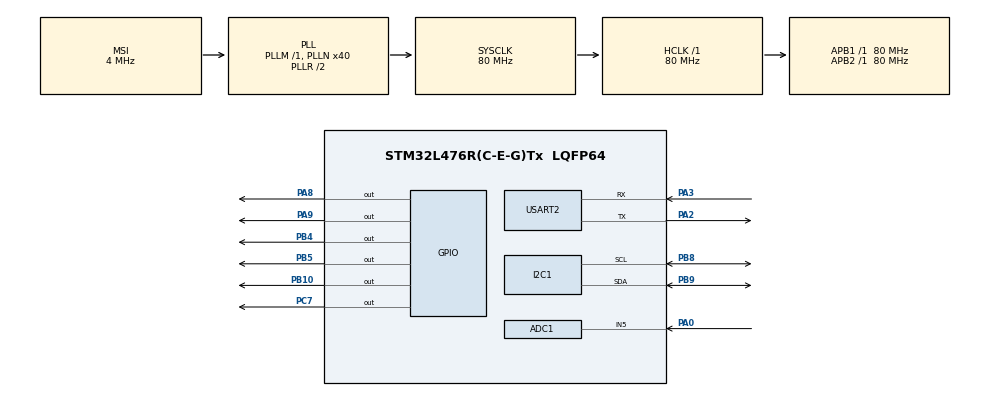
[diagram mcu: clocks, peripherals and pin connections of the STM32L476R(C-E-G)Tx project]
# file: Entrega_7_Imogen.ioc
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ADC1.Channel-0\#ChannelRegularConversion=ADC_CHANNEL_5
ADC1.NbrOfConversionFlag=1
ADC1.SamplingTime-0\#ChannelRegularConversion=ADC_SAMPLETIME_247CYCLES_5
ADC1.master=1
I2C1.Timing=0x10D19CE4
Mcu.Family=STM32L4
Mcu.Name=STM32L476R(C-E-G)Tx
Mcu.Package=LQFP64
NVIC.PriorityGroup=NVIC_PRIORITYGROUP_4
PA0.Signal=ADCx_IN5
PA13\ (JTMS-SWDIO).Mode=Serial_Wire
PA13\ (JTMS-SWDIO).Signal=SYS_JTMS-SWDIO
PA14\ (JTCK-SWCLK).Mode=Serial_Wire
PA14\ (JTCK-SWCLK).Signal=SYS_JTCK-SWCLK
PA2.Mode=Asynchronous
PA2.Signal=USART2_TX
PA3.Mode=Asynchronous
PA3.Signal=USART2_RX
PA8.Signal=GPIO_Output
PA9.Signal=GPIO_Output
PB10.Signal=GPIO_Output
PB4\ (NJTRST).Signal=GPIO_Output
PB5.Signal=GPIO_Output
PB8.GPIO_Pu=GPIO_PULLUP
PB8.Mode=I2C
PB8.Signal=I2C1_SCL
PB9.GPIO_Pu=GPIO_PULLUP
PB9.Mode=I2C
PB9.Signal=I2C1_SDA
PC7.Signal=GPIO_Output
ProjectManager.HeapSize=0x200
ProjectManager.StackSize=0x400
ProjectManager.TargetToolchain=STM32CubeIDE
RCC.ADCFreq_Value=32000000
RCC.AHBFreq_Value=80000000
RCC.APB1Freq_Value=80000000
RCC.APB1TimFreq_Value=80000000
RCC.APB2Freq_Value=80000000
RCC.APB2TimFreq_Value=80000000
RCC.CortexFreq_Value=80000000
RCC.HCLKFreq_Value=80000000
RCC.HSE_VALUE=8000000
RCC.HSI_VALUE=16000000
RCC.LSE_VALUE=32768
RCC.MSI_VALUE=4000000
RCC.PLLN=40
RCC.PLLSAI1N=16
RCC.SYSCLKFreq_VALUE=80000000
RCC.SYSCLKSource=RCC_SYSCLKSOURCE_PLLCLK
RCC.USBFreq_Value=32000000
RCC.VCOOutputFreq_Value=160000000
SH.ADCx_IN5.0=ADC1_IN5,IN5-Single-Ended
USART2.VirtualMode-Asynchronous=VM_ASYNC
board=custom

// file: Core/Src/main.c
/* USER CODE BEGIN Header */
/**
  ******************************************************************************
  * @file           : main.c
  * @brief          : Projeto completo - LCD paralelo + WCMCU-75 + MQ-135 CO2 estimado
  ******************************************************************************
  */
/* USER CODE END Header */

#include "main.h"
#include "adc.h"
#include "i2c.h"
#include "usart.h"
#include "gpio.h"

/* USER CODE BEGIN Includes */
#include <stdio.h>
#include <string.h>
/* USER CODE END Includes */

void SystemClock_Config(void);

/* USER CODE BEGIN PV */

/* =========================================================
   LCD 1602 PARALELO - MODO 4 BITS

   Ligações:
   LCD RS -> PA8
   LCD E  -> PA9
   LCD D4 -> PB5
   LCD D5 -> PB4
   LCD D6 -> PB10
   LCD D7 -> PC7

   LCD VSS -> GND
   LCD VDD -> 5V
   LCD VO  -> GND ou potenciômetro de contraste
   LCD RW  -> GND
   LCD A   -> 5V com resistor, pode ser 300 ohms
   LCD K   -> GND
   ========================================================= */

#define LCD_RS_PORT GPIOA
#define LCD_RS_PIN  GPIO_PIN_8

#define LCD_E_PORT GPIOA
#define LCD_E_PIN  GPIO_PIN_9

#define LCD_D4_PORT GPIOB
#define LCD_D4_PIN  GPIO_PIN_5

#define LCD_D5_PORT GPIOB
#define LCD_D5_PIN  GPIO_PIN_4

#define LCD_D6_PORT GPIOB
#define LCD_D6_PIN  GPIO_PIN_10

#define LCD_D7_PORT GPIOC
#define LCD_D7_PIN  GPIO_PIN_7

/* =========================================================
   WCMCU-75

   O WCMCU-75 normalmente usa LM75/LM75A internamente.
   Endereços possíveis: 0x48 até 0x4F.
   Os pinos A0/A1/A2 definem o endereço.

   Recomendado:
   A0 -> GND
   A1 -> GND
   A2 -> GND
   para fixar em 0x48.
   ========================================================= */

#define WCMCU75_ADDR_MIN 0x48
#define WCMCU75_ADDR_MAX 0x4F

static uint16_t wcmcu75_addr = (0x48 << 1);
static uint8_t  wcmcu75_found = 0;

/* =========================================================
   MQ-135 / CO2 estimado via ADC

   Ligação usada:
   AO do MQ-135 -> resistor 10k -> nó central -> resistor 1k -> GND
   nó central -> PA0

   Fator teórico do divisor = 11.

   Fórmula didática usada:
   co2_ppm = 400 + (adc_raw - 550) * 2

   Observação:
   O valor é uma estimativa didática baseada na variação analógica.
   Não é medição calibrada/laboratorial real de CO2.
   ========================================================= */

#define ADC_MAX_COUNTS 4095UL
#define VREF_MV        3300UL
#define DIVIDER_FACTOR 11UL

/* USER CODE END PV */

/* USER CODE BEGIN PFP */

/* UART */
static void uart_print(const char *s);

/* LCD */
static void lcd_pulse_enable(void);
static void lcd_write4(uint8_t nibble);
static void lcd_send(uint8_t value, uint8_t rs);
static void lcd_cmd(uint8_t cmd);
static void lcd_data(uint8_t data);
static void lcd_init(void);
static void lcd_clear(void);
static void lcd_set_cursor(uint8_t row, uint8_t col);
static void lcd_print(const char *s);
static void lcd_print_padded(const char *s);

/* WCMCU-75 */
static uint8_t wcmcu75_detect_address(void);
static int16_t wcmcu75_read_temp_x10(void);

/* ADC / MQ-135 */
static uint32_t adc_read(void);
static uint32_t mq135_vpin_mv(uint32_t raw);
static uint32_t mq135_vao_mv(uint32_t raw);
static uint32_t mq135_estimate_co2_ppm(uint32_t raw);

/* USER CODE END PFP */

/* USER CODE BEGIN 0 */

static void uart_print(const char *s)
{
    HAL_UART_Transmit(&huart2, (uint8_t *)s, strlen(s), HAL_MAX_DELAY);
}

/* =========================================================
   LCD 1602 PARALELO - DRIVER 4 BITS
   ========================================================= */

static void lcd_pulse_enable(void)
{
    HAL_GPIO_WritePin(LCD_E_PORT, LCD_E_PIN, GPIO_PIN_SET);
    HAL_Delay(1);
    HAL_GPIO_WritePin(LCD_E_PORT, LCD_E_PIN, GPIO_PIN_RESET);
    HAL_Delay(1);
}

static void lcd_write4(uint8_t nibble)
{
    HAL_GPIO_WritePin(LCD_D4_PORT, LCD_D4_PIN, (nibble & 0x01) ? GPIO_PIN_SET : GPIO_PIN_RESET);
    HAL_GPIO_WritePin(LCD_D5_PORT, LCD_D5_PIN, (nibble & 0x02) ? GPIO_PIN_SET : GPIO_PIN_RESET);
    HAL_GPIO_WritePin(LCD_D6_PORT, LCD_D6_PIN, (nibble & 0x04) ? GPIO_PIN_SET : GPIO_PIN_RESET);
    HAL_GPIO_WritePin(LCD_D7_PORT, LCD_D7_PIN, (nibble & 0x08) ? GPIO_PIN_SET : GPIO_PIN_RESET);

    lcd_pulse_enable();
}

static void lcd_send(uint8_t value, uint8_t rs)
{
    HAL_GPIO_WritePin(LCD_RS_PORT, LCD_RS_PIN, rs ? GPIO_PIN_SET : GPIO_PIN_RESET);

    lcd_write4(value >> 4);
    lcd_write4(value & 0x0F);

    HAL_Delay(2);
}

static void lcd_cmd(uint8_t cmd)
{
    lcd_send(cmd, 0);
}

static void lcd_data(uint8_t data)
{
    lcd_send(data, 1);
}

static void lcd_init(void)
{
    HAL_Delay(50);

    HAL_GPIO_WritePin(LCD_RS_PORT, LCD_RS_PIN, GPIO_PIN_RESET);
    HAL_GPIO_WritePin(LCD_E_PORT, LCD_E_PIN, GPIO_PIN_RESET);

    lcd_write4(0x03);
    HAL_Delay(5);

    lcd_write4(0x03);
    HAL_Delay(5);

    lcd_write4(0x03);
    HAL_Delay(5);

    lcd_write4(0x02);
    HAL_Delay(5);

    lcd_cmd(0x28); /* 4 bits, 2 linhas, fonte 5x8 */
    lcd_cmd(0x0C); /* display ON, cursor OFF */
    lcd_cmd(0x06); /* incremento automático */
    lcd_cmd(0x01); /* limpa display */
    HAL_Delay(5);
}

static void lcd_clear(void)
{
    lcd_cmd(0x01);
    HAL_Delay(5);
}

static void lcd_set_cursor(uint8_t row, uint8_t col)
{
    uint8_t addr;

    if (row == 0)
        addr = 0x00 + col;
    else
        addr = 0x40 + col;

    lcd_cmd(0x80 | addr);
}

static void lcd_print(const char *s)
{
    while (*s)
    {
        lcd_data((uint8_t)*s);
        s++;
    }
}

static void lcd_print_padded(const char *s)
{
    uint8_t count = 0;

    while (*s && count < 16)
    {
        lcd_data((uint8_t)*s);
        s++;
        count++;
    }

    while (count < 16)
    {
        lcd_data(' ');
        count++;
    }
}

/* =========================================================
   WCMCU-75 / LM75A
   ========================================================= */

static uint8_t wcmcu75_detect_address(void)
{
    for (uint8_t addr = WCMCU75_ADDR_MIN; addr <= WCMCU75_ADDR_MAX; addr++)
    {
        if (HAL_I2C_IsDeviceReady(&hi2c1, (addr << 1), 3, 100) == HAL_OK)
        {
            wcmcu75_addr = (addr << 1);
            wcmcu75_found = 1;
            return 1;
        }
    }

    wcmcu75_found = 0;
    return 0;
}

static int16_t wcmcu75_read_temp_x10(void)
{
    uint8_t buf[2];

    if (!wcmcu75_found)
    {
        return -9999;
    }

    if (HAL_I2C_Master_Receive(&hi2c1, wcmcu75_addr, buf, 2, 100) != HAL_OK)
    {
        return -9999;
    }

    /*
       WCMCU-75 / LM75A:
       9 bits de temperatura.
       Resolução: 0.5 C.
       temp_x10 = raw * 5.
    */
    int16_t raw = (int16_t)((buf[0] << 8) | buf[1]);

    raw >>= 7;

    if (raw & 0x0100)
    {
        raw |= 0xFE00;
    }

    return raw * 5;
}

/* =========================================================
   ADC / MQ-135 / CO2 ESTIMADO
   ========================================================= */

static uint32_t adc_read(void)
{
    uint32_t value = 0;

    HAL_ADC_Start(&hadc1);

    if (HAL_ADC_PollForConversion(&hadc1, 100) == HAL_OK)
    {
        value = HAL_ADC_GetValue(&hadc1);
    }

    HAL_ADC_Stop(&hadc1);

    return value;
}

static uint32_t mq135_vpin_mv(uint32_t raw)
{
    /*
       Vpin = raw * 3300 / 4095
       Resultado em milivolts.
    */
    return (raw * VREF_MV) / ADC_MAX_COUNTS;
}

static uint32_t mq135_vao_mv(uint32_t raw)
{
    /*
       Vao estimado desfazendo o divisor resistivo.
       Como o divisor teórico é 10k/1k, fator = 11.
    */
    return mq135_vpin_mv(raw) * DIVIDER_FACTOR;
}

static uint32_t mq135_estimate_co2_ppm(uint32_t raw)
{
    /*
       Estimativa didática de CO2 baseada na leitura analógica.

       Fórmula inicial:
       co2_ppm = 400 + (raw - 550) * 2

       Exemplos:
       raw=550 -> 400 ppm
       raw=600 -> 500 ppm
       raw=700 -> 700 ppm
       raw=800 -> 900 ppm

       Observação:
       Isso NÃO é uma calibração real de CO2.
       É uma escala didática para visualizar tendência de variação.
    */

    int32_t base_raw = 550;
    int32_t diff = (int32_t)raw - base_raw;

    int32_t ppm = 400 + (diff * 2);

    if (ppm < 0)
    {
        ppm = 0;
    }

    if (ppm > 9999)
    {
        ppm = 9999;
    }

    return (uint32_t)ppm;
}

/* USER CODE END 0 */

int main(void)
{
  HAL_Init();
  SystemClock_Config();

  MX_GPIO_Init();
  MX_ADC1_Init();
  MX_I2C1_Init();
  MX_USART2_UART_Init();

  /* USER CODE BEGIN 2 */

  HAL_ADCEx_Calibration_Start(&hadc1, ADC_SINGLE_ENDED);

  lcd_init();
  lcd_clear();

  lcd_set_cursor(0, 0);
  lcd_print("Sistema OK");

  lcd_set_cursor(1, 0);
  lcd_print("Iniciando...");
  HAL_Delay(1200);

  char linha1[17];
  char linha2[17];
  char json[240];

  /* USER CODE END 2 */

  while (1)
  {
    /* USER CODE BEGIN 3 */

    /*
       Detecta o WCMCU-75 antes de cada leitura.
       Isso deixa o sistema robusto se o endereço variar.
       Ideal: fixar A0/A1/A2 no GND.
    */
    wcmcu75_detect_address();

    int16_t temp_x10 = wcmcu75_read_temp_x10();

    uint32_t raw = adc_read();
    uint32_t vpin_mv = mq135_vpin_mv(raw);
    uint32_t vao_mv = mq135_vao_mv(raw);
    uint32_t co2_ppm = mq135_estimate_co2_ppm(raw);

    if (temp_x10 == -9999)
    {
        snprintf(linha1, sizeof(linha1), "Temp: ERRO I2C");
        snprintf(linha2, sizeof(linha2), "CO2~%4lu ppm", (unsigned long)co2_ppm);

        snprintf(json, sizeof(json),
                 "{\"temperature_c\":null,\"co2_ppm\":%lu,\"adc_raw\":%lu,\"vpin_mv\":%lu,\"vao_mv\":%lu,\"sensor_status\":\"ERRO_I2C\"}\r\n",
                 (unsigned long)co2_ppm,
                 (unsigned long)raw,
                 (unsigned long)vpin_mv,
                 (unsigned long)vao_mv);
    }
    else
    {
        int16_t temp_abs;
        int16_t temp_int;
        int16_t temp_dec;
        char sinal = '+';

        if (temp_x10 < 0)
        {
            sinal = '-';
            temp_abs = -temp_x10;
        }
        else
        {
            temp_abs = temp_x10;
        }

        temp_int = temp_abs / 10;
        temp_dec = temp_abs % 10;

        if (sinal == '-')
        {
            snprintf(linha1, sizeof(linha1), "Temp:-%02d.%d C", temp_int, temp_dec);

            snprintf(json, sizeof(json),
                     "{\"temperature_c\":-%d.%d,\"co2_ppm\":%lu,\"adc_raw\":%lu,\"vpin_mv\":%lu,\"vao_mv\":%lu,\"sensor_status\":\"OK\"}\r\n",
                     temp_int,
                     temp_dec,
                     (unsigned long)co2_ppm,
                     (unsigned long)raw,
                     (unsigned long)vpin_mv,
                     (unsigned long)vao_mv);
        }
        else
        {
            snprintf(linha1, sizeof(linha1), "Temp:%02d.%d C", temp_int, temp_dec);

            snprintf(json, sizeof(json),
                     "{\"temperature_c\":%d.%d,\"co2_ppm\":%lu,\"adc_raw\":%lu,\"vpin_mv\":%lu,\"vao_mv\":%lu,\"sensor_status\":\"OK\"}\r\n",
                     temp_int,
                     temp_dec,
                     (unsigned long)co2_ppm,
                     (unsigned long)raw,
                     (unsigned long)vpin_mv,
                     (unsigned long)vao_mv);
        }

        snprintf(linha2, sizeof(linha2), "CO2~%4lu ppm", (unsigned long)co2_ppm);
    }

    lcd_set_cursor(0, 0);
    lcd_print_padded(linha1);

    lcd_set_cursor(1, 0);
    lcd_print_padded(linha2);

    uart_print(json);

    HAL_Delay(1000);

    /* USER CODE END 3 */
  }
}

void SystemClock_Config(void)
{
  RCC_OscInitTypeDef RCC_OscInitStruct = {0};
  RCC_ClkInitTypeDef RCC_ClkInitStruct = {0};

  if (HAL_PWREx_ControlVoltageScaling(PWR_REGULATOR_VOLTAGE_SCALE1) != HAL_OK)
  {
    Error_Handler();
  }

  RCC_OscInitStruct.OscillatorType = RCC_OSCILLATORTYPE_MSI;
  RCC_OscInitStruct.MSIState = RCC_MSI_ON;
  RCC_OscInitStruct.MSICalibrationValue = 0;
  RCC_OscInitStruct.MSIClockRange = RCC_MSIRANGE_6;
  RCC_OscInitStruct.PLL.PLLState = RCC_PLL_ON;
  RCC_OscInitStruct.PLL.PLLSource = RCC_PLLSOURCE_MSI;
  RCC_OscInitStruct.PLL.PLLM = 1;
  RCC_OscInitStruct.PLL.PLLN = 40;
  RCC_OscInitStruct.PLL.PLLP = RCC_PLLP_DIV7;
  RCC_OscInitStruct.PLL.PLLQ = RCC_PLLQ_DIV2;
  RCC_OscInitStruct.PLL.PLLR = RCC_PLLR_DIV2;

  if (HAL_RCC_OscConfig(&RCC_OscInitStruct) != HAL_OK)
  {
    Error_Handler();
  }

  RCC_ClkInitStruct.ClockType = RCC_CLOCKTYPE_HCLK | RCC_CLOCKTYPE_SYSCLK
                              | RCC_CLOCKTYPE_PCLK1 | RCC_CLOCKTYPE_PCLK2;

  RCC_ClkInitStruct.SYSCLKSource = RCC_SYSCLKSOURCE_PLLCLK;
  RCC_ClkInitStruct.AHBCLKDivider = RCC_SYSCLK_DIV1;
  RCC_ClkInitStruct.APB1CLKDivider = RCC_HCLK_DIV1;
  RCC_ClkInitStruct.APB2CLKDivider = RCC_HCLK_DIV1;

  if (HAL_RCC_ClockConfig(&RCC_ClkInitStruct, FLASH_LATENCY_4) != HAL_OK)
  {
    Error_Handler();
  }
}

void Error_Handler(void)
{
  __disable_irq();

  while (1)
  {
  }
}
